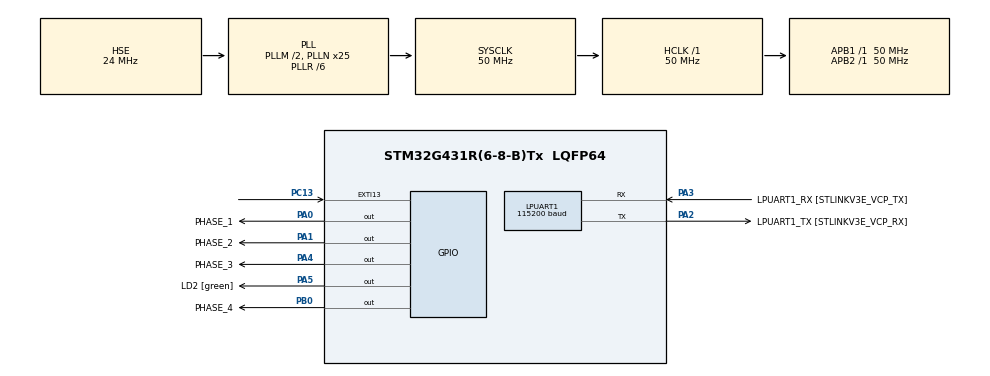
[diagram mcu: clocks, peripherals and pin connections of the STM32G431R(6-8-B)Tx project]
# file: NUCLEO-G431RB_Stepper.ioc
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LPUART1.BaudRate=115200
LPUART1.WordLength=UART_WORDLENGTH_8B
Mcu.Family=STM32G4
Mcu.Name=STM32G431R(6-8-B)Tx
Mcu.Package=LQFP64
NVIC.EXTI15_10_IRQn=true\:0\:0\:false\:false\:true\:true\:true\:true
NVIC.PriorityGroup=NVIC_PRIORITYGROUP_4
PA0.GPIO_Label=PHASE_1
PA0.Signal=GPIO_Output
PA1.GPIO_Label=PHASE_2
PA1.Signal=GPIO_Output
PA13.GPIO_Label=T_SWDIO
PA13.Mode=Serial_Wire
PA13.Signal=SYS_JTMS-SWDIO
PA14.GPIO_Label=T_SWCLK
PA14.Mode=Serial_Wire
PA14.Signal=SYS_JTCK-SWCLK
PA2.GPIO_Label=LPUART1_TX [STLINKV3E_VCP_RX]
PA2.Mode=Asynchronous
PA2.Signal=LPUART1_TX
PA3.GPIO_Label=LPUART1_RX [STLINKV3E_VCP_TX]
PA3.Mode=Asynchronous
PA3.Signal=LPUART1_RX
PA4.GPIO_Label=PHASE_3
PA4.Signal=GPIO_Output
PA5.GPIO_Label=LD2 [green]
PA5.Signal=GPIO_Output
PB0.GPIO_Label=PHASE_4
PB0.Signal=GPIO_Output
PB3.GPIO_Label=T_SWO
PB3.Signal=SYS_JTDO-SWO
PC13.Signal=GPXTI13
PC14-OSC32_IN.Mode=LSE-External-Oscillator
PC14-OSC32_IN.Signal=RCC_OSC32_IN
PC15-OSC32_OUT.Mode=LSE-External-Oscillator
PC15-OSC32_OUT.Signal=RCC_OSC32_OUT
PF0-OSC_IN.Mode=HSE-External-Oscillator
PF0-OSC_IN.Signal=RCC_OSC_IN
PF1-OSC_OUT.Mode=HSE-External-Oscillator
PF1-OSC_OUT.Signal=RCC_OSC_OUT
ProjectManager.HeapSize=0x200
ProjectManager.StackSize=0x400
ProjectManager.TargetToolchain=STM32CubeIDE
RCC.ADC12Freq_Value=50000000
RCC.AHBFreq_Value=50000000
RCC.APB1Freq_Value=50000000
RCC.APB1TimFreq_Value=50000000
RCC.APB2Freq_Value=50000000
RCC.APB2TimFreq_Value=50000000
RCC.CortexFreq_Value=50000000
RCC.EXTERNAL_CLOCK_VALUE=12288000
RCC.HCLKFreq_Value=50000000
RCC.HSE_VALUE=24000000
RCC.HSI48_VALUE=48000000
RCC.HSI_VALUE=16000000
RCC.PLLM=RCC_PLLM_DIV2
RCC.PLLN=25
RCC.PLLR=RCC_PLLR_DIV6
RCC.PLLSourceVirtual=RCC_PLLSOURCE_HSE
RCC.RTCClockSelection=RCC_RTCCLKSOURCE_LSE
RCC.SYSCLKFreq_VALUE=50000000
RCC.SYSCLKSource=RCC_SYSCLKSOURCE_PLLCLK
RCC.USBFreq_Value=150000000
RCC.VCOOutputFreq_Value=300000000
VP_SYS_VS_DBSignals.Mode=DisableDeadBatterySignals
board=NUCLEO-G431RB

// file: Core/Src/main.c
/* USER CODE BEGIN Header */
/**
 ******************************************************************************
 * @file           : main.c
 * @brief          : Main program body
 ******************************************************************************
 * @attention
 *
 * Copyright (c) 2023 STMicroelectronics.
 * All rights reserved.
 *
 * This software is licensed under terms that can be found in the LICENSE file
 * in the root directory of this software component.
 * If no LICENSE file comes with this software, it is provided AS-IS.
 *
 ******************************************************************************
 */
/* USER CODE END Header */
#include "main.h"

UART_HandleTypeDef hlpuart1;

/* USER CODE BEGIN PV */
uint8_t sens = 0;

typedef enum {
	OFF,
	PHASE1,
	PHASE2,
	PHASE3,
	PHASE4
} StepperState;

/* USER CODE END PV */

void SystemClock_Config(void);
static void MX_GPIO_Init(void);
static void MX_LPUART1_UART_Init(void);

int main(void)
{
  /* USER CODE BEGIN 1 */
	StepperState currentState = OFF;
  /* USER CODE END 1 */

  /* MCU Configuration--------------------------------------------------------*/

  /* Reset of all peripherals, Initializes the Flash interface and the Systick. */
  HAL_Init();

  /* Configure the system clock */
  SystemClock_Config();

  /* Initialize all configured peripherals */
  MX_GPIO_Init();
  MX_LPUART1_UART_Init();
  /* USER CODE BEGIN 2 */
	HAL_UART_Transmit(&hlpuart1, "Stepper project\r\n", 17, 100);
  /* USER CODE END 2 */

  /* Infinite loop */
  /* USER CODE BEGIN WHILE */
	while (1)
	{
		switch (currentState) {
		case OFF:
			HAL_GPIO_WritePin(PHASE_1_GPIO_Port, PHASE_1_Pin, RESET);
			HAL_GPIO_WritePin(PHASE_2_GPIO_Port, PHASE_2_Pin, RESET);
			HAL_GPIO_WritePin(PHASE_3_GPIO_Port, PHASE_3_Pin, RESET);
			HAL_GPIO_WritePin(PHASE_4_GPIO_Port, PHASE_4_Pin, RESET);
			currentState = PHASE1;
			break;

		case PHASE1:
			HAL_GPIO_WritePin(PHASE_1_GPIO_Port, PHASE_1_Pin, SET);
			HAL_GPIO_WritePin(PHASE_2_GPIO_Port, PHASE_2_Pin, RESET);
			HAL_GPIO_WritePin(PHASE_3_GPIO_Port, PHASE_3_Pin, RESET);
			HAL_GPIO_WritePin(PHASE_4_GPIO_Port, PHASE_4_Pin, RESET);
			currentState = PHASE2;
			break;

		case PHASE2:
			HAL_GPIO_WritePin(PHASE_1_GPIO_Port, PHASE_1_Pin, RESET);
			HAL_GPIO_WritePin(PHASE_2_GPIO_Port, PHASE_2_Pin, SET);
			HAL_GPIO_WritePin(PHASE_3_GPIO_Port, PHASE_3_Pin, RESET);
			HAL_GPIO_WritePin(PHASE_4_GPIO_Port, PHASE_4_Pin, RESET);
			currentState = PHASE3;
			break;

		case PHASE3:
			HAL_GPIO_WritePin(PHASE_1_GPIO_Port, PHASE_1_Pin, RESET);
			HAL_GPIO_WritePin(PHASE_2_GPIO_Port, PHASE_2_Pin, RESET);
			HAL_GPIO_WritePin(PHASE_3_GPIO_Port, PHASE_3_Pin, SET);
			HAL_GPIO_WritePin(PHASE_4_GPIO_Port, PHASE_4_Pin, RESET);
			currentState = PHASE4;
			break;

		case PHASE4:
			HAL_GPIO_WritePin(PHASE_1_GPIO_Port, PHASE_1_Pin, RESET);
			HAL_GPIO_WritePin(PHASE_2_GPIO_Port, PHASE_2_Pin, RESET);
			HAL_GPIO_WritePin(PHASE_3_GPIO_Port, PHASE_3_Pin, RESET);
			HAL_GPIO_WritePin(PHASE_4_GPIO_Port, PHASE_4_Pin, SET);
			currentState = PHASE1;
			break;
		}

		HAL_Delay(1000);
    /* USER CODE END WHILE */

	}
}

void SystemClock_Config(void)
{
  RCC_OscInitTypeDef RCC_OscInitStruct = {0};
  RCC_ClkInitTypeDef RCC_ClkInitStruct = {0};

  /** Configure the main internal regulator output voltage
  */
  HAL_PWREx_ControlVoltageScaling(PWR_REGULATOR_VOLTAGE_SCALE1);

  /** Initializes the RCC Oscillators according to the specified parameters
  * in the RCC_OscInitTypeDef structure.
  */
  RCC_OscInitStruct.OscillatorType = RCC_OSCILLATORTYPE_HSE;
  RCC_OscInitStruct.HSEState = RCC_HSE_ON;
  RCC_OscInitStruct.PLL.PLLState = RCC_PLL_ON;
  RCC_OscInitStruct.PLL.PLLSource = RCC_PLLSOURCE_HSE;
  RCC_OscInitStruct.PLL.PLLM = RCC_PLLM_DIV2;
  RCC_OscInitStruct.PLL.PLLN = 25;
  RCC_OscInitStruct.PLL.PLLP = RCC_PLLP_DIV2;
  RCC_OscInitStruct.PLL.PLLQ = RCC_PLLQ_DIV2;
  RCC_OscInitStruct.PLL.PLLR = RCC_PLLR_DIV6;
  if (HAL_RCC_OscConfig(&RCC_OscInitStruct) != HAL_OK)
  {
    Error_Handler();
  }

  /** Initializes the CPU, AHB and APB buses clocks
  */
  RCC_ClkInitStruct.ClockType = RCC_CLOCKTYPE_HCLK|RCC_CLOCKTYPE_SYSCLK
                              |RCC_CLOCKTYPE_PCLK1|RCC_CLOCKTYPE_PCLK2;
  RCC_ClkInitStruct.SYSCLKSource = RCC_SYSCLKSOURCE_PLLCLK;
  RCC_ClkInitStruct.AHBCLKDivider = RCC_SYSCLK_DIV1;
  RCC_ClkInitStruct.APB1CLKDivider = RCC_HCLK_DIV1;
  RCC_ClkInitStruct.APB2CLKDivider = RCC_HCLK_DIV1;

  if (HAL_RCC_ClockConfig(&RCC_ClkInitStruct, FLASH_LATENCY_1) != HAL_OK)
  {
    Error_Handler();
  }
}

static void MX_LPUART1_UART_Init(void)
{

  hlpuart1.Instance = LPUART1;
  hlpuart1.Init.BaudRate = 115200;
  hlpuart1.Init.WordLength = UART_WORDLENGTH_8B;
  hlpuart1.Init.StopBits = UART_STOPBITS_1;
  hlpuart1.Init.Parity = UART_PARITY_NONE;
  hlpuart1.Init.Mode = UART_MODE_TX_RX;
  hlpuart1.Init.HwFlowCtl = UART_HWCONTROL_NONE;
  hlpuart1.Init.OneBitSampling = UART_ONE_BIT_SAMPLE_DISABLE;
  hlpuart1.Init.ClockPrescaler = UART_PRESCALER_DIV1;
  hlpuart1.AdvancedInit.AdvFeatureInit = UART_ADVFEATURE_NO_INIT;
  if (HAL_UART_Init(&hlpuart1) != HAL_OK)
  {
    Error_Handler();
  }
  if (HAL_UARTEx_SetTxFifoThreshold(&hlpuart1, UART_TXFIFO_THRESHOLD_1_8) != HAL_OK)
  {
    Error_Handler();
  }
  if (HAL_UARTEx_SetRxFifoThreshold(&hlpuart1, UART_RXFIFO_THRESHOLD_1_8) != HAL_OK)
  {
    Error_Handler();
  }
  if (HAL_UARTEx_DisableFifoMode(&hlpuart1) != HAL_OK)
  {
    Error_Handler();
  }

}

static void MX_GPIO_Init(void)
{
  GPIO_InitTypeDef GPIO_InitStruct = {0};

  /* GPIO Ports Clock Enable */
  __HAL_RCC_GPIOC_CLK_ENABLE();
  __HAL_RCC_GPIOF_CLK_ENABLE();
  __HAL_RCC_GPIOA_CLK_ENABLE();
  __HAL_RCC_GPIOB_CLK_ENABLE();

  /*Configure GPIO pin Output Level */
  HAL_GPIO_WritePin(GPIOA, PHASE_1_Pin|PHASE_2_Pin|PHASE_3_Pin|LD2_Pin, GPIO_PIN_RESET);

  /*Configure GPIO pin Output Level */
  HAL_GPIO_WritePin(PHASE_4_GPIO_Port, PHASE_4_Pin, GPIO_PIN_RESET);

  /*Configure GPIO pin : PC13 */
  GPIO_InitStruct.Pin = GPIO_PIN_13;
  GPIO_InitStruct.Mode = GPIO_MODE_IT_RISING;
  GPIO_InitStruct.Pull = GPIO_NOPULL;
  HAL_GPIO_Init(GPIOC, &GPIO_InitStruct);

  /*Configure GPIO pins : PHASE_1_Pin PHASE_2_Pin PHASE_3_Pin LD2_Pin */
  GPIO_InitStruct.Pin = PHASE_1_Pin|PHASE_2_Pin|PHASE_3_Pin|LD2_Pin;
  GPIO_InitStruct.Mode = GPIO_MODE_OUTPUT_PP;
  GPIO_InitStruct.Pull = GPIO_NOPULL;
  GPIO_InitStruct.Speed = GPIO_SPEED_FREQ_LOW;
  HAL_GPIO_Init(GPIOA, &GPIO_InitStruct);

  /*Configure GPIO pin : PHASE_4_Pin */
  GPIO_InitStruct.Pin = PHASE_4_Pin;
  GPIO_InitStruct.Mode = GPIO_MODE_OUTPUT_PP;
  GPIO_InitStruct.Pull = GPIO_NOPULL;
  GPIO_InitStruct.Speed = GPIO_SPEED_FREQ_LOW;
  HAL_GPIO_Init(PHASE_4_GPIO_Port, &GPIO_InitStruct);

  /* EXTI interrupt init*/
  HAL_NVIC_SetPriority(EXTI15_10_IRQn, 0, 0);
  HAL_NVIC_EnableIRQ(EXTI15_10_IRQn);

}

/* USER CODE BEGIN 4 */
void HAL_GPIO_EXTI_Callback(uint16_t GPIO_Pin)
{
	sens = 1-sens;
}
/* USER CODE END 4 */

void Error_Handler(void)
{
	__disable_irq();
	while (1)
	{
	}
}
